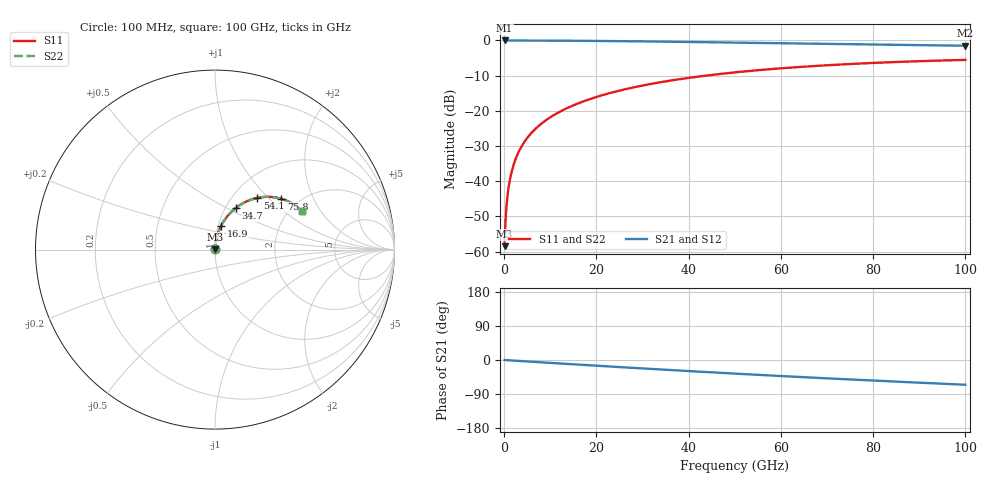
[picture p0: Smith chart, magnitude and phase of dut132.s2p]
! Touchstone file exported from HFSS 2026.1.0
!  File:  C:/ffzhzh/LocalFiles/Ansys_Project_Files/temp_train_RDL_132_1783499609_55944.aedt
!  Generated:  04:34:36 PM Jul  8, 2026
!  Design:  RDL
!  Project:  temp_train_RDL_132_1783499609_55944
! Variables:
!  h_bsmrdl = 2um
!  h_ox = 20um
!  h_rdl = 5um
!  h_sub = 80um
!  h_tmrdl = 3.99um
!  h_tsv = 80um
!  h_via = 3um
!  l_bsmrdl = 300um
!  l_sub = 570.59um
!  l_tmrdl = 170.59um
!  m_sub = 200um
!  pitch = 57.83um
!  r_tsv = 6um
!  s_tmrdl = 10um
!  w_bsmrdl = 18um
!  w_sub = 500um
!  w_tmrdl = 26.25um
!  x_tsv_center1 = 183.715um
!  x_tsv_center2 = 501.715um
!  x_tsv_center3 = 698.555um
!  x_tsv_center4 = 1016.555um
!  x_tsv_center5 = 1213.395um
!  x_tsv_center6 = 1531.395um
# GHz S MA R 50.000000
! Terminal data exported
! Port[1] = TM_RDL1_1_T1
! Port[2] = TM_RDL1_1_T2
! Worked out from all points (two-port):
!   1000 points, 100 MHz to 100 GHz, reference 50 ohm
!   highest |S21| = -0.01 dB at 100 MHz (marker M1); lowest = -1.5 dB at 100 GHz (marker M2)
!   |S21| within 3 dB of the highest: start of sweep to end of sweep
!   lowest |S11| = -58.5 dB at 100 MHz (marker M3), VSWR 1.00, Z = 50.1 + j0.0899 ohm
!   |S11| at or under -10 dB: start of sweep to 43.75 GHz
!   |S22| runs from -58.5 to -5.5 dB; largest |S21 - S12| = 4.3e-15
!   S11 on the Smith chart (normalised r, x): 100 MHz: 1.00, +0.00; 16.9 GHz: 1.03, +0.27; 34.7 GHz: 1.12, +0.56; 54.1 GHz: 1.29, +0.87; 75.8 GHz: 1.64, +1.18; 100 GHz: 2.29, +1.38
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0.1  0.001194 48.8  0.9992 -0.1  0.9992 -0.1  0.001194 48.8
! Gamma 0 0 0 0
! Port Impedance 50 0 50 0
0.4  0.003549 74.8  0.9991 -0.3  0.9991 -0.3  0.003549 74.8
0.8  0.006795 81.1  0.999 -0.6  0.999 -0.6  0.006795 81.1
1.1  0.009257 82.9  0.9989 -0.9  0.9989 -0.9  0.009257 82.9
1.4  0.01173 83.8  0.9989 -1.1  0.9989 -1.1  0.01173 83.8
1.9  0.01585 84.5  0.9988 -1.5  0.9988 -1.5  0.01585 84.5
2.4  0.01997 84.7  0.9986 -1.9  0.9986 -1.9  0.01997 84.7
3.9  0.03224 84.4  0.998 -3.0  0.998 -3.0  0.03224 84.4
6  0.04918 83.2  0.9969 -4.6  0.9969 -4.6  0.04918 83.2
8.8  0.07143 81.4  0.995 -6.7  0.995 -6.7  0.07143 81.3
12.4  0.09957 78.9  0.9921 -9.4  0.9921 -9.4  0.09957 78.9
16.8  0.1333 75.8  0.9877 -12.7  0.9877 -12.7  0.1333 75.8
16.9  0.134 75.8  0.9875 -12.8  0.9875 -12.8  0.134 75.8
24.3  0.1887 70.6  0.978 -18.2  0.978 -18.2  0.1887 70.6
33.4  0.2516 64.3  0.9632 -24.7  0.9632 -24.7  0.2516 64.3
34.7  0.2601 63.4  0.9608 -25.6  0.9608 -25.6  0.2601 63.4
50.1  0.352 53.2  0.9306 -36.0  0.9306 -36.0  0.352 53.1
54.1  0.3729 50.6  0.9224 -38.6  0.9224 -38.6  0.3729 50.6
66.7  0.4308 42.9  0.8967 -46.4  0.8967 -46.4  0.4308 42.8
75.8  0.4652 37.5  0.8793 -51.8  0.8793 -51.8  0.4652 37.5
83.4  0.4894 33.2  0.8661 -56.2  0.8661 -56.2  0.4894 33.2
100  0.5289 24.2  0.8424 -65.3  0.8424 -65.3  0.5289 24.1
